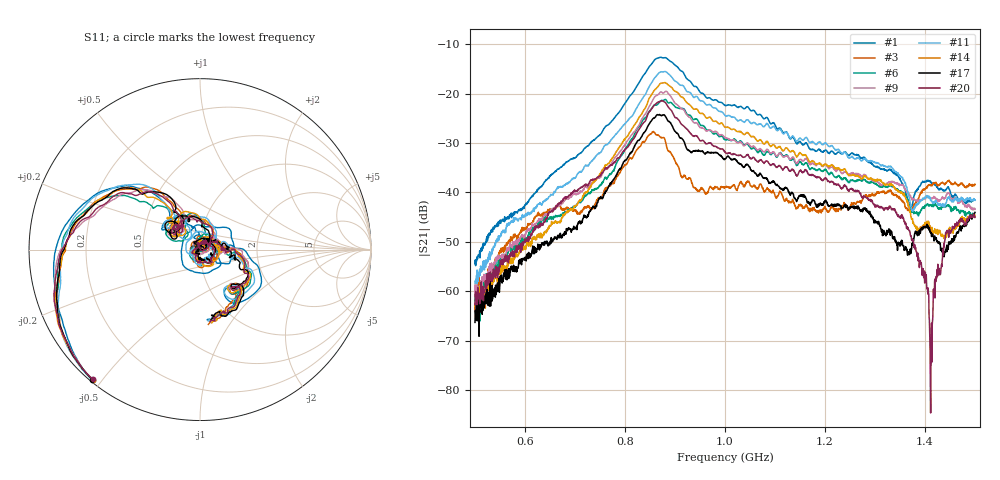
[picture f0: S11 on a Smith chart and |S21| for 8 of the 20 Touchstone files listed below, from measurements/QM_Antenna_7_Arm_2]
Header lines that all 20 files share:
!Agilent Technologies,E8364B,US42250235,A.06.04.32
!Agilent E8364B: A.06.04.32
!Correction: S11(Full 2 Port(1,2)) S21(Full 2 Port(1,2)) S12(Full 2 Port(1,2)) S22(Full 2 Port(1,2))
!S2P File: Measurements: S11, S21, S12, S22:
# Hz S  dB  R 50
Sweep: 500 MHz to 1.5 GHz
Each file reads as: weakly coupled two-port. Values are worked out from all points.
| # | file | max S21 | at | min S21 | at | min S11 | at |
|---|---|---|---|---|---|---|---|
| 1 | 0_2.s2p | -12.60 dB | 871.2 MHz | -54.8 dB | 501.2 MHz | -35.0 dB | 1.03 GHz |
| 2 | 0_9.s2p | -18.74 dB | 873.1 MHz | -62.4 dB | 503.8 MHz | -34.1 dB | 879.4 MHz |
| 3 | 1_1.s2p | -27.64 dB | 856.9 MHz | -63.8 dB | 500.6 MHz | -43.2 dB | 878.1 MHz |
| 4 | 1_2.s2p | -21.53 dB | 892.5 MHz | -61.6 dB | 506.2 MHz | -36.6 dB | 895 MHz |
| 5 | 1_3.s2p | -21.88 dB | 878.8 MHz | -63.5 dB | 505.6 MHz | -36.7 dB | 1.138 GHz |
| 6 | 1_4.s2p | -21.15 dB | 880.6 MHz | -66.0 dB | 510 MHz | -41.4 dB | 907.5 MHz |
| 7 | 2_1.s2p | -16.57 dB | 859.4 MHz | -53.6 dB | 500.6 MHz | -29.2 dB | 1.211 GHz |
| 8 | 2_3.s2p | -16.91 dB | 880.6 MHz | -60.9 dB | 500 MHz | -44.5 dB | 1.139 GHz |
| 9 | 2_5.s2p | -19.48 dB | 881.9 MHz | -61.3 dB | 507.5 MHz | -35.9 dB | 878.1 MHz |
| 10 | 2_6.s2p | -19.95 dB | 880 MHz | -65.1 dB | 500.6 MHz | -61.0 dB | 862.5 MHz |
| 11 | 3_3.s2p | -15.49 dB | 880.6 MHz | -58.5 dB | 503.8 MHz | -29.7 dB | 1.128 GHz |
| 12 | 3_6.s2p | -19.47 dB | 880.6 MHz | -64.9 dB | 501.2 MHz | -50.4 dB | 1.119 GHz |
| 13 | 4_2.s2p | -15.22 dB | 877.5 MHz | -59.3 dB | 500.6 MHz | -43.2 dB | 1.131 GHz |
| 14 | 4_4.s2p | -17.73 dB | 879.4 MHz | -64.6 dB | 501.2 MHz | -60.9 dB | 873.1 MHz |
| 15 | 4_5.s2p | -18.91 dB | 880 MHz | -61.3 dB | 513.1 MHz | -47.2 dB | 858.1 MHz |
| 16 | 4_6.s2p | -20.18 dB | 878.1 MHz | -61.9 dB | 505 MHz | -46.4 dB | 908.1 MHz |
| 17 | 5_1.s2p | -24.19 dB | 868.8 MHz | -69.1 dB | 508.1 MHz | -50.4 dB | 875 MHz |
| 18 | 5_2.s2p | -22.91 dB | 870 MHz | -66.6 dB | 502.5 MHz | -53.6 dB | 883.1 MHz |
| 19 | 5_3.s2p | -20.90 dB | 870 MHz | -66.2 dB | 506.2 MHz | -40.3 dB | 885 MHz |
| 20 | 5_5.s2p | -21.42 dB | 873.8 MHz | -84.7 dB | 1.411 GHz | -54.6 dB | 873.8 MHz |
